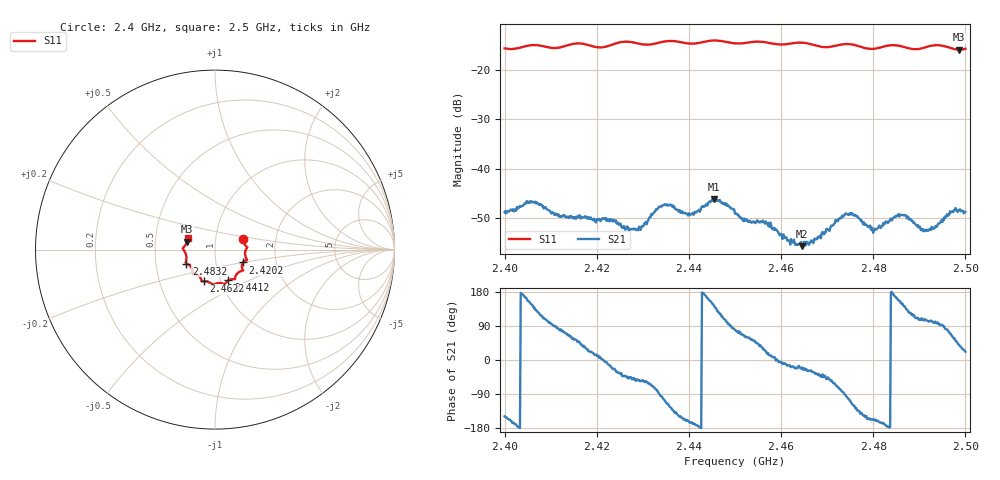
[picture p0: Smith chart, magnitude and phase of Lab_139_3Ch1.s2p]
# Hz S RI R 50
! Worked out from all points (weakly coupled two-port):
!   601 points, 2.4 GHz to 2.5 GHz, reference 50 ohm
!   highest |S21| = -46.25 dB at 2.4455 GHz (marker M1); lowest = -55.8 dB at 2.4645 GHz (marker M2)
!   lowest |S11| = -15.8 dB at 2.4987 GHz (marker M3), VSWR 1.39, Z = 36.4 + j3.33 ohm
!   |S11| at or under -10 dB: start of sweep to end of sweep
!   S12 and S22 are empty: the file has one direction only
!   S11 on the Smith chart (normalised r, x): 2.4 GHz: 1.36, +0.17; 2.4202 GHz: 1.35, -0.20; 2.4412 GHz: 1.09, -0.39; 2.4622 GHz: 0.83, -0.30; 2.4832 GHz: 0.72, -0.12; 2.5 GHz: 0.73, +0.10
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2.4e9  0.1557 0.0604  -0.00306 -0.00188  0 0  0 0
2.406167e9  0.1798 0.0134  -0.00359 0.00277  0 0  0 0
2.412e9  0.1679 -0.0311  0.000655 0.00315  0 0  0 0
2.416667e9  0.1774 -0.0582  0.00244 0.00212  0 0  0 0
2.420167e9  0.1557 -0.0717  0.00298 0.000648  0 0  0 0
2.429e9  0.1437 -0.1199  0.00144 -0.00187  0 0  0 0
2.433333e9  0.1128 -0.1527  0.000262 -0.00398  0 0  0 0
2.441167e9  0.0749 -0.1713  -0.00349 -0.000734  0 0  0 0
2.4455e9  0.0533 -0.1938  -0.00384 0.00299  0 0  0 0
2.45e9  0.0263 -0.1861  0.00061 0.00342  0 0  0 0
2.457167e9  -0.0194 -0.1898  0.00249 0.000823  0 0  0 0
2.462167e9  -0.0631 -0.1763  0.00182 -0.000619  0 0  0 0
2.4645e9  -0.0734 -0.1763  0.00153 -0.000543  0 0  0 0
2.466667e9  -0.0763 -0.1669  0.00158 -0.00091  0 0  0 0
2.474167e9  -0.1248 -0.1363  -0.000375 -0.00344  0 0  0 0
2.48e9  -0.1364 -0.093  -0.00206 -0.000815  0 0  0 0
2.483167e9  -0.1603 -0.0779  -0.00278 -0.000226  0 0  0 0
2.483333e9  -0.161 -0.0774  -0.00288 -0.000161  0 0  0 0
2.4865e9  -0.1614 -0.0638  -0.00271 0.00195  0 0  0 0
2.491667e9  -0.173 -0.00488  -0.000586 0.00232  0 0  0 0
2.498667e9  -0.1555 0.0445  0.00295 0.00242  0 0  0 0
2.5e9  -0.1528 0.0635  0.00337 0.00135  0 0  0 0
